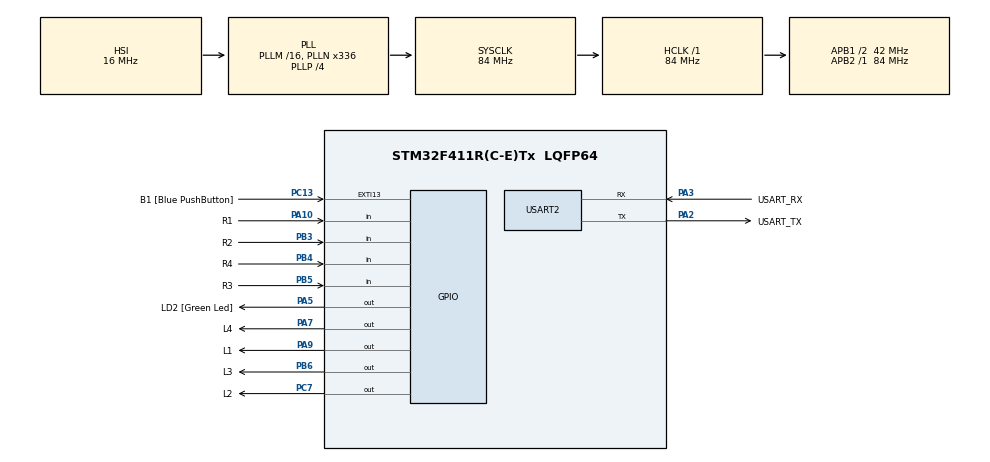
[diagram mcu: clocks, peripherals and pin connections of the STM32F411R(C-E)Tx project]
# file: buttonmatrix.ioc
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Mcu.Family=STM32F4
Mcu.Name=STM32F411R(C-E)Tx
Mcu.Package=LQFP64
NVIC.PriorityGroup=NVIC_PRIORITYGROUP_0
PA10.GPIO_Label=R1
PA10.GPIO_Mode=GPIO_MODE_INPUT
PA10.GPIO_PuPd=GPIO_PULLUP
PA10.Signal=GPIO_Input
PA13.GPIO_Label=TMS
PA13.Mode=Serial_Wire
PA13.Signal=SYS_JTMS-SWDIO
PA14.GPIO_Label=TCK
PA14.Mode=Serial_Wire
PA14.Signal=SYS_JTCK-SWCLK
PA2.GPIO_Label=USART_TX
PA2.Mode=Asynchronous
PA2.Signal=USART2_TX
PA3.GPIO_Label=USART_RX
PA3.Mode=Asynchronous
PA3.Signal=USART2_RX
PA5.GPIO_Label=LD2 [Green Led]
PA5.Signal=GPIO_Output
PA7.GPIO_Label=L4
PA7.GPIO_ModeDefaultOutputPP=GPIO_MODE_OUTPUT_OD
PA7.GPIO_PuPd=GPIO_NOPULL
PA7.Signal=GPIO_Output
PA9.GPIO_Label=L1
PA9.GPIO_ModeDefaultOutputPP=GPIO_MODE_OUTPUT_OD
PA9.GPIO_PuPd=GPIO_NOPULL
PA9.Signal=GPIO_Output
PB3.GPIO_Label=R2
PB3.GPIO_Mode=GPIO_MODE_INPUT
PB3.GPIO_PuPd=GPIO_PULLUP
PB3.Signal=GPIO_Input
PB4.GPIO_Label=R4
PB4.GPIO_Mode=GPIO_MODE_INPUT
PB4.GPIO_PuPd=GPIO_PULLUP
PB4.Signal=GPIO_Input
PB5.GPIO_Label=R3
PB5.GPIO_Mode=GPIO_MODE_INPUT
PB5.GPIO_PuPd=GPIO_PULLUP
PB5.Signal=GPIO_Input
PB6.GPIO_Label=L3
PB6.GPIO_ModeDefaultOutputPP=GPIO_MODE_OUTPUT_OD
PB6.GPIO_PuPd=GPIO_NOPULL
PB6.Signal=GPIO_Output
PC13-ANTI_TAMP.GPIO_Label=B1 [Blue PushButton]
PC13-ANTI_TAMP.GPIO_ModeDefaultEXTI=GPIO_MODE_IT_FALLING
PC13-ANTI_TAMP.Signal=GPXTI13
PC14-OSC32_IN.Mode=LSE-External-Oscillator
PC14-OSC32_IN.Signal=RCC_OSC32_IN
PC15-OSC32_OUT.Mode=LSE-External-Oscillator
PC15-OSC32_OUT.Signal=RCC_OSC32_OUT
PC7.GPIO_Label=L2
PC7.GPIO_ModeDefaultOutputPP=GPIO_MODE_OUTPUT_OD
PC7.GPIO_PuPd=GPIO_NOPULL
PC7.Signal=GPIO_Output
PH0\ -\ OSC_IN.Mode=HSE-External-Clock-Source
PH0\ -\ OSC_IN.Signal=RCC_OSC_IN
PH1\ -\ OSC_OUT.Mode=HSE-External-Clock-Source
PH1\ -\ OSC_OUT.Signal=RCC_OSC_OUT
ProjectManager.HeapSize=0x200
ProjectManager.StackSize=0x400
ProjectManager.TargetToolchain=STM32CubeIDE
RCC.48MHZClocksFreq_Value=84000000
RCC.AHBFreq_Value=84000000
RCC.APB1CLKDivider=RCC_HCLK_DIV2
RCC.APB1Freq_Value=42000000
RCC.APB1TimFreq_Value=84000000
RCC.APB2Freq_Value=84000000
RCC.APB2TimFreq_Value=84000000
RCC.CortexFreq_Value=84000000
RCC.FLatency-AdvancedSettings=FLASH_LATENCY_2
RCC.HCLKFreq_Value=84000000
RCC.HSE_VALUE=8000000
RCC.HSI_VALUE=16000000
RCC.PLLN=336
RCC.PLLP=RCC_PLLP_DIV4
RCC.SYSCLKFreq_VALUE=84000000
RCC.SYSCLKSource=RCC_SYSCLKSOURCE_PLLCLK
RCC.VCOOutputFreq_Value=336000000
USART2.VirtualMode=VM_ASYNC
board=NUCLEO-F411RE

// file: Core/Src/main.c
/* USER CODE BEGIN Header */
/**
  ******************************************************************************
  * @file           : main.c
  * @brief          : Main program body
  ******************************************************************************
  * @attention
  *
  * Copyright (c) 2022 STMicroelectronics.
  * All rights reserved.
  *
  * This software is licensed under terms that can be found in the LICENSE file
  * in the root directory of this software component.
  * If no LICENSE file comes with this software, it is provided AS-IS.
  *
  ******************************************************************************
  */
/* USER CODE END Header */
#include "main.h"

UART_HandleTypeDef huart2;

/* USER CODE BEGIN PV */
uint16_t Buttonstate = 0; //store 4x4 button state ให้เป็นgolbalเพื่อให้อ่านค่าแบบrealtimeได้
/* USER CODE END PV */

void SystemClock_Config(void);
static void MX_GPIO_Init(void);
static void MX_USART2_UART_Init(void);
/* USER CODE BEGIN PFP */
void ButtonMatrixRead();
/* USER CODE END PFP */

int main(void)
{

  /* MCU Configuration--------------------------------------------------------*/

  /* Reset of all peripherals, Initializes the Flash interface and the Systick. */
  HAL_Init();

  /* Configure the system clock */
  SystemClock_Config();

  /* Initialize all configured peripherals */
  MX_GPIO_Init();
  MX_USART2_UART_Init();

  /* Infinite loop */
  while (1)
  {

    /* USER CODE BEGIN 3 */
	  ButtonMatrixRead();
  }
  /* USER CODE END 3 */
}

void SystemClock_Config(void)
{
  RCC_OscInitTypeDef RCC_OscInitStruct = {0};
  RCC_ClkInitTypeDef RCC_ClkInitStruct = {0};

  /** Configure the main internal regulator output voltage
  */
  __HAL_RCC_PWR_CLK_ENABLE();
  __HAL_PWR_VOLTAGESCALING_CONFIG(PWR_REGULATOR_VOLTAGE_SCALE1);
  /** Initializes the RCC Oscillators according to the specified parameters
  * in the RCC_OscInitTypeDef structure.
  */
  RCC_OscInitStruct.OscillatorType = RCC_OSCILLATORTYPE_HSI;
  RCC_OscInitStruct.HSIState = RCC_HSI_ON;
  RCC_OscInitStruct.HSICalibrationValue = RCC_HSICALIBRATION_DEFAULT;
  RCC_OscInitStruct.PLL.PLLState = RCC_PLL_ON;
  RCC_OscInitStruct.PLL.PLLSource = RCC_PLLSOURCE_HSI;
  RCC_OscInitStruct.PLL.PLLM = 16;
  RCC_OscInitStruct.PLL.PLLN = 336;
  RCC_OscInitStruct.PLL.PLLP = RCC_PLLP_DIV4;
  RCC_OscInitStruct.PLL.PLLQ = 4;
  if (HAL_RCC_OscConfig(&RCC_OscInitStruct) != HAL_OK)
  {
    Error_Handler();
  }
  /** Initializes the CPU, AHB and APB buses clocks
  */
  RCC_ClkInitStruct.ClockType = RCC_CLOCKTYPE_HCLK|RCC_CLOCKTYPE_SYSCLK
                              |RCC_CLOCKTYPE_PCLK1|RCC_CLOCKTYPE_PCLK2;
  RCC_ClkInitStruct.SYSCLKSource = RCC_SYSCLKSOURCE_PLLCLK;
  RCC_ClkInitStruct.AHBCLKDivider = RCC_SYSCLK_DIV1;
  RCC_ClkInitStruct.APB1CLKDivider = RCC_HCLK_DIV2;
  RCC_ClkInitStruct.APB2CLKDivider = RCC_HCLK_DIV1;

  if (HAL_RCC_ClockConfig(&RCC_ClkInitStruct, FLASH_LATENCY_2) != HAL_OK)
  {
    Error_Handler();
  }
}

static void MX_USART2_UART_Init(void)
{

  huart2.Instance = USART2;
  huart2.Init.BaudRate = 115200;
  huart2.Init.WordLength = UART_WORDLENGTH_8B;
  huart2.Init.StopBits = UART_STOPBITS_1;
  huart2.Init.Parity = UART_PARITY_NONE;
  huart2.Init.Mode = UART_MODE_TX_RX;
  huart2.Init.HwFlowCtl = UART_HWCONTROL_NONE;
  huart2.Init.OverSampling = UART_OVERSAMPLING_16;
  if (HAL_UART_Init(&huart2) != HAL_OK)
  {
    Error_Handler();
  }

}

static void MX_GPIO_Init(void)
{
  GPIO_InitTypeDef GPIO_InitStruct = {0};

  /* GPIO Ports Clock Enable */
  __HAL_RCC_GPIOC_CLK_ENABLE();
  __HAL_RCC_GPIOH_CLK_ENABLE();
  __HAL_RCC_GPIOA_CLK_ENABLE();
  __HAL_RCC_GPIOB_CLK_ENABLE();

  /*Configure GPIO pin Output Level */
  HAL_GPIO_WritePin(GPIOA, LD2_Pin|L4_Pin|L1_Pin, GPIO_PIN_RESET);

  /*Configure GPIO pin Output Level */
  HAL_GPIO_WritePin(L2_GPIO_Port, L2_Pin, GPIO_PIN_RESET);

  /*Configure GPIO pin Output Level */
  HAL_GPIO_WritePin(L3_GPIO_Port, L3_Pin, GPIO_PIN_RESET);

  /*Configure GPIO pin : B1_Pin */
  GPIO_InitStruct.Pin = B1_Pin;
  GPIO_InitStruct.Mode = GPIO_MODE_IT_FALLING;
  GPIO_InitStruct.Pull = GPIO_NOPULL;
  HAL_GPIO_Init(B1_GPIO_Port, &GPIO_InitStruct);

  /*Configure GPIO pin : LD2_Pin */
  GPIO_InitStruct.Pin = LD2_Pin;
  GPIO_InitStruct.Mode = GPIO_MODE_OUTPUT_PP;
  GPIO_InitStruct.Pull = GPIO_NOPULL;
  GPIO_InitStruct.Speed = GPIO_SPEED_FREQ_LOW;
  HAL_GPIO_Init(LD2_GPIO_Port, &GPIO_InitStruct);

  /*Configure GPIO pins : L4_Pin L1_Pin */
  GPIO_InitStruct.Pin = L4_Pin|L1_Pin;
  GPIO_InitStruct.Mode = GPIO_MODE_OUTPUT_OD;
  GPIO_InitStruct.Pull = GPIO_NOPULL;
  GPIO_InitStruct.Speed = GPIO_SPEED_FREQ_LOW;
  HAL_GPIO_Init(GPIOA, &GPIO_InitStruct);

  /*Configure GPIO pin : L2_Pin */
  GPIO_InitStruct.Pin = L2_Pin;
  GPIO_InitStruct.Mode = GPIO_MODE_OUTPUT_OD;
  GPIO_InitStruct.Pull = GPIO_NOPULL;
  GPIO_InitStruct.Speed = GPIO_SPEED_FREQ_LOW;
  HAL_GPIO_Init(L2_GPIO_Port, &GPIO_InitStruct);

  /*Configure GPIO pin : R1_Pin */
  GPIO_InitStruct.Pin = R1_Pin;
  GPIO_InitStruct.Mode = GPIO_MODE_INPUT;
  GPIO_InitStruct.Pull = GPIO_PULLUP;
  HAL_GPIO_Init(R1_GPIO_Port, &GPIO_InitStruct);

  /*Configure GPIO pins : R2_Pin R4_Pin R3_Pin */
  GPIO_InitStruct.Pin = R2_Pin|R4_Pin|R3_Pin;
  GPIO_InitStruct.Mode = GPIO_MODE_INPUT;
  GPIO_InitStruct.Pull = GPIO_PULLUP;
  HAL_GPIO_Init(GPIOB, &GPIO_InitStruct);

  /*Configure GPIO pin : L3_Pin */
  GPIO_InitStruct.Pin = L3_Pin;
  GPIO_InitStruct.Mode = GPIO_MODE_OUTPUT_OD;
  GPIO_InitStruct.Pull = GPIO_NOPULL;
  GPIO_InitStruct.Speed = GPIO_SPEED_FREQ_LOW;
  HAL_GPIO_Init(L3_GPIO_Port, &GPIO_InitStruct);

}

/* USER CODE BEGIN 4 */
GPIO_TypeDef* ButtonMatrixPortR[4] = {R1_GPIO_Port, R2_GPIO_Port, R3_GPIO_Port, R4_GPIO_Port};
uint16_t ButtonMatrixPinR[4] = {R1_Pin, R2_Pin, R3_Pin, R4_Pin};

GPIO_TypeDef* ButtonMatrixPortL[4] = {L1_GPIO_Port, L2_GPIO_Port, L3_GPIO_Port, L4_GPIO_Port};
uint16_t ButtonMatrixPinL[4] = {L1_Pin, L2_Pin, L3_Pin, L4_Pin};

void ButtonMatrixRead(){
	static uint32_t timestamp=0;
	static uint8_t CurrentL=0;

	if(HAL_GetTick() - timestamp >= 100){  //อ่านค่าทุกๆ 100 ms

		timestamp = HAL_GetTick();

//		HAL_GPIO_ReadPin(R1_GPIO_Port, R1_Pin); //ทำ�?บบนี้ไปเรื่อยๆ�?็ได้

		for(int i=0; i<4; i++){
			if(HAL_GPIO_ReadPin(ButtonMatrixPortR[i], ButtonMatrixPinR[i]) == GPIO_PIN_RESET){ //ปุ่มถูกกด
				//set bit i to 1
				//i calculate form i(R) and CurrentL to set bit that relate to 4x4 button
				Buttonstate |= 1 << (i + (CurrentL * 4));

			}
			else{ //ไม่ได้กดปุ่ม
				Buttonstate &= ~(1 << (i + (CurrentL * 4)));

			}
		}
		//set currentL to Hi-z (open drain)
		HAL_GPIO_WritePin(ButtonMatrixPortL[CurrentL], ButtonMatrixPinL[CurrentL], GPIO_PIN_SET);
		uint8_t nextL = (CurrentL + 1) % 4;
		//set nextL to low
		HAL_GPIO_WritePin(ButtonMatrixPortL[nextL], ButtonMatrixPinL[nextL], GPIO_PIN_RESET);
		CurrentL = nextL;
	}
}

/* USER CODE END 4 */

void Error_Handler(void)
{
  __disable_irq();
  while (1)
  {
  }
}
